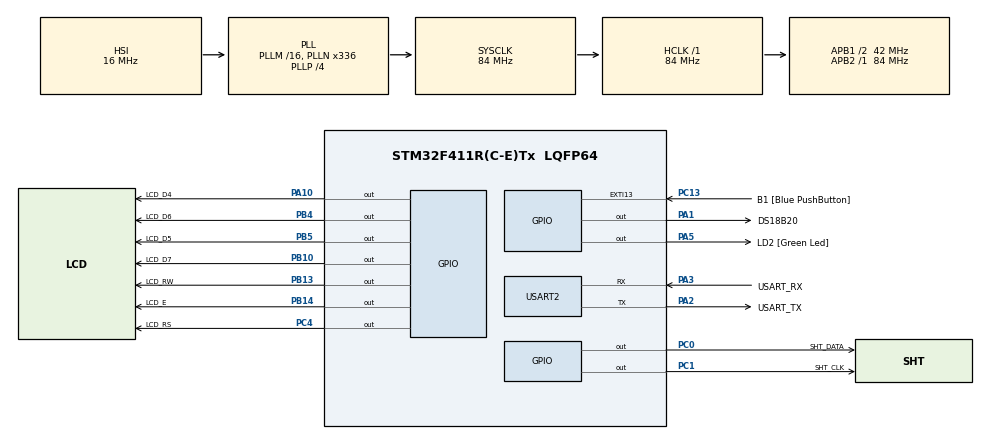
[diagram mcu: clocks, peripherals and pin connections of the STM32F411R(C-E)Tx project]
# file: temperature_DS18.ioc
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Mcu.Family=STM32F4
Mcu.Name=STM32F411R(C-E)Tx
Mcu.Package=LQFP64
NVIC.PriorityGroup=NVIC_PRIORITYGROUP_0
PA1.GPIO_Label=DS18B20
PA1.Signal=GPIO_Output
PA10.GPIO_Label=LCD_D4
PA10.Signal=GPIO_Output
PA13.GPIO_Label=TMS
PA13.Mode=Serial_Wire
PA13.Signal=SYS_JTMS-SWDIO
PA14.GPIO_Label=TCK
PA14.Mode=Serial_Wire
PA14.Signal=SYS_JTCK-SWCLK
PA2.GPIO_Label=USART_TX
PA2.Mode=Asynchronous
PA2.Signal=USART2_TX
PA3.GPIO_Label=USART_RX
PA3.Mode=Asynchronous
PA3.Signal=USART2_RX
PA5.GPIO_Label=LD2 [Green Led]
PA5.Signal=GPIO_Output
PB10.GPIO_Label=LCD_D7
PB10.Signal=GPIO_Output
PB13.GPIO_Label=LCD_RW
PB13.Signal=GPIO_Output
PB14.GPIO_Label=LCD_E
PB14.Signal=GPIO_Output
PB3.GPIO_Label=SWO
PB3.Signal=SYS_JTDO-SWO
PB4.GPIO_Label=LCD_D6
PB4.Signal=GPIO_Output
PB5.GPIO_Label=LCD_D5
PB5.Signal=GPIO_Output
PC0.GPIO_Label=SHT_DATA
PC0.Signal=GPIO_Output
PC1.GPIO_Label=SHT_CLK
PC1.Signal=GPIO_Output
PC13-ANTI_TAMP.GPIO_Label=B1 [Blue PushButton]
PC13-ANTI_TAMP.GPIO_ModeDefaultEXTI=GPIO_MODE_IT_FALLING
PC13-ANTI_TAMP.Signal=GPXTI13
PC14-OSC32_IN.Mode=LSE-External-Oscillator
PC14-OSC32_IN.Signal=RCC_OSC32_IN
PC15-OSC32_OUT.Mode=LSE-External-Oscillator
PC15-OSC32_OUT.Signal=RCC_OSC32_OUT
PC4.GPIO_Label=LCD_RS
PC4.Signal=GPIO_Output
PH0\ -\ OSC_IN.Mode=HSE-External-Clock-Source
PH0\ -\ OSC_IN.Signal=RCC_OSC_IN
PH1\ -\ OSC_OUT.Mode=HSE-External-Clock-Source
PH1\ -\ OSC_OUT.Signal=RCC_OSC_OUT
ProjectManager.HeapSize=0x200
ProjectManager.StackSize=0x400
ProjectManager.TargetToolchain=STM32CubeIDE
RCC.48MHZClocksFreq_Value=84000000
RCC.AHBFreq_Value=84000000
RCC.APB1CLKDivider=RCC_HCLK_DIV2
RCC.APB1Freq_Value=42000000
RCC.APB1TimFreq_Value=84000000
RCC.APB2Freq_Value=84000000
RCC.APB2TimFreq_Value=84000000
RCC.CortexFreq_Value=84000000
RCC.FLatency-AdvancedSettings=FLASH_LATENCY_2
RCC.HCLKFreq_Value=84000000
RCC.HSE_VALUE=8000000
RCC.HSI_VALUE=16000000
RCC.PLLN=336
RCC.PLLP=RCC_PLLP_DIV4
RCC.SYSCLKFreq_VALUE=84000000
RCC.SYSCLKSource=RCC_SYSCLKSOURCE_PLLCLK
RCC.VCOOutputFreq_Value=336000000
TIM3.Prescaler=84-1
USART2.VirtualMode=VM_ASYNC
VP_TIM3_VS_ClockSourceINT.Mode=Internal
board=NUCLEO-F411RE

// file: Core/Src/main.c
/* USER CODE BEGIN Header */
/**
  ******************************************************************************
  * @file           : main.c
  * @brief          : Main program body
  ******************************************************************************
  * @attention
  *
  * Copyright (c) 2023 STMicroelectronics.
  * All rights reserved.
  *
  * This software is licensed under terms that can be found in the LICENSE file
  * in the root directory of this software component.
  * If no LICENSE file comes with this software, it is provided AS-IS.
  *
  ******************************************************************************
  */
/* USER CODE END Header */
#include "main.h"
#include "tim.h"
#include "usart.h"
#include "gpio.h"

/* USER CODE BEGIN Includes */
#include <stdio.h>
#include <string.h>
#include "utils.h"
#include "ds18b20.h"
#include "lcd.h"
#include "sht11.h"
/* USER CODE END Includes */

void SystemClock_Config(void);

int main(void)
{

  /* MCU Configuration--------------------------------------------------------*/

  /* Reset of all peripherals, Initializes the Flash interface and the Systick. */
  HAL_Init();

  /* Configure the system clock */
  SystemClock_Config();

  /* Initialize all configured peripherals */
  MX_GPIO_Init();
  MX_USART2_UART_Init();
  MX_TIM3_Init();
  /* USER CODE BEGIN 2 */
  HAL_TIM_Base_Start(&htim3);
  uint8_t temp1, temp2;
  uint16_t temperature;
  uint8_t msg[30];
  char lcd_msg[15];
  sprintf(&msg, "\nBooting Environment\r\n");
  HAL_UART_Transmit(&huart2,  msg, sizeof(msg), 10);
  HAL_Delay(2);
  init_lcd();
  send_string_lcd("Booting");
  /* USER CODE END 2 */

  /* Infinite loop */
  /* USER CODE BEGIN WHILE */
  while (1)
  {
	 memset(msg, 0, sizeof(msg));
	 memset(lcd_msg, 0, sizeof(lcd_msg));
	 DS18B20_Start();
	 //HAL_Delay(1);
	 DS18B20_Write(0xCC);
	 DS18B20_Write(0x44);
	 HAL_Delay(800);

	 DS18B20_Start();
	 //HAL_Delay(1);
	 DS18B20_Write(0xCC);
	 DS18B20_Write(0xBE);
	 temp1 = DS18B20_Read();
	 temp2 = DS18B20_Read();
	 temperature = (temp2<<8) | temp1;
	 temperature = (float)temperature/16;
	 sprintf(&msg, "Temperature: %dC\r\n", temperature);
	 sprintf(&lcd_msg,"Temp: %d%cC", temperature,223);
	 HAL_UART_Transmit(&huart2,  msg, sizeof(msg), 10);
	 clear_lcd();
	 HAL_Delay(1);
	 send_string_lcd(lcd_msg);
	 uint8_t cmd_valid;
	 SHT11_Reset();
	 HAL_Delay(15);
	 cmd_valid = SHT11_Write(0x03);
	 uint16_t valueT = 0;
	 uint16_t valueH = 0;
	 valueT = SHT11_Read();
	 cmd_valid = SHT11_Write(0x05);
	 valueH = SHT11_Read();
	 HAL_Delay(1000);

    /* USER CODE END WHILE */

  }
}

void SystemClock_Config(void)
{
  RCC_OscInitTypeDef RCC_OscInitStruct = {0};
  RCC_ClkInitTypeDef RCC_ClkInitStruct = {0};

  /** Configure the main internal regulator output voltage
  */
  __HAL_RCC_PWR_CLK_ENABLE();
  __HAL_PWR_VOLTAGESCALING_CONFIG(PWR_REGULATOR_VOLTAGE_SCALE1);

  /** Initializes the RCC Oscillators according to the specified parameters
  * in the RCC_OscInitTypeDef structure.
  */
  RCC_OscInitStruct.OscillatorType = RCC_OSCILLATORTYPE_HSI;
  RCC_OscInitStruct.HSIState = RCC_HSI_ON;
  RCC_OscInitStruct.HSICalibrationValue = RCC_HSICALIBRATION_DEFAULT;
  RCC_OscInitStruct.PLL.PLLState = RCC_PLL_ON;
  RCC_OscInitStruct.PLL.PLLSource = RCC_PLLSOURCE_HSI;
  RCC_OscInitStruct.PLL.PLLM = 16;
  RCC_OscInitStruct.PLL.PLLN = 336;
  RCC_OscInitStruct.PLL.PLLP = RCC_PLLP_DIV4;
  RCC_OscInitStruct.PLL.PLLQ = 4;
  if (HAL_RCC_OscConfig(&RCC_OscInitStruct) != HAL_OK)
  {
    Error_Handler();
  }

  /** Initializes the CPU, AHB and APB buses clocks
  */
  RCC_ClkInitStruct.ClockType = RCC_CLOCKTYPE_HCLK|RCC_CLOCKTYPE_SYSCLK
                              |RCC_CLOCKTYPE_PCLK1|RCC_CLOCKTYPE_PCLK2;
  RCC_ClkInitStruct.SYSCLKSource = RCC_SYSCLKSOURCE_PLLCLK;
  RCC_ClkInitStruct.AHBCLKDivider = RCC_SYSCLK_DIV1;
  RCC_ClkInitStruct.APB1CLKDivider = RCC_HCLK_DIV2;
  RCC_ClkInitStruct.APB2CLKDivider = RCC_HCLK_DIV1;

  if (HAL_RCC_ClockConfig(&RCC_ClkInitStruct, FLASH_LATENCY_2) != HAL_OK)
  {
    Error_Handler();
  }
}

void Error_Handler(void)
{
  __disable_irq();
  while (1)
  {
  }
}
